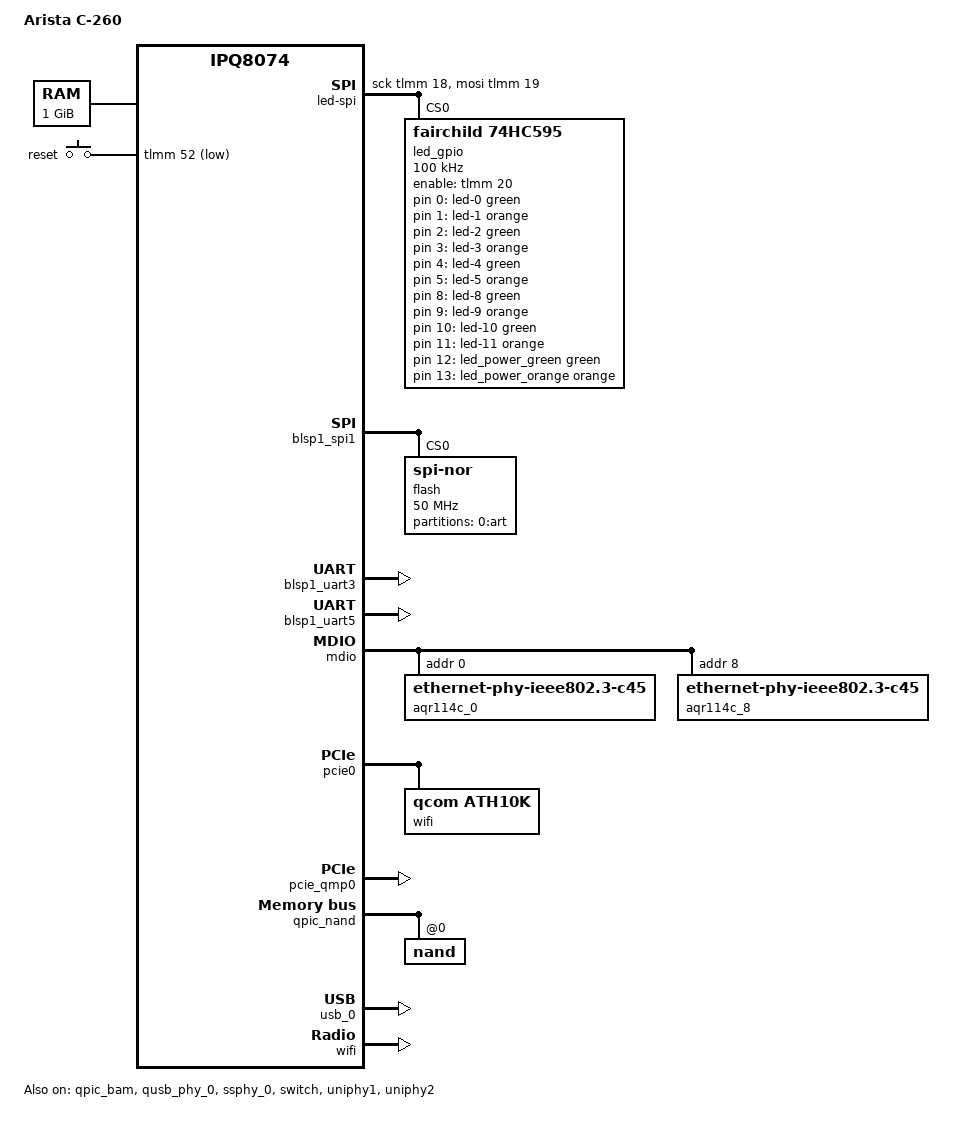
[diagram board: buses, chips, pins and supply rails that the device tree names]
// SPDX-License-Identifier: GPL-2.0-or-later OR MIT

/dts-v1/;

#include "ipq8074.dtsi"
#include "ipq8074-hk-cpu.dtsi"
#include "ipq8074-ess.dtsi"
#include "ipq8074-nss.dtsi"
#include <dt-bindings/gpio/gpio.h>
#include <dt-bindings/input/input.h>
#include <dt-bindings/leds/common.h>

/ {
	model = "Arista C-260";
	compatible = "arista,c-260", "qcom,ipq8074";

	aliases {
		serial0 = &blsp1_uart5;
		serial1 = &blsp1_uart3;
		led-boot = &led_power_orange;
		led-failsafe = &led_power_orange;
		led-running = &led_power_green;
		led-upgrade = &led_power_orange;
		label-mac-device = &port_lan1;
	};

	chosen {
		stdout-path = "serial0:115200n8";
		bootargs-append = " ubi.mtd=rootfs root=/dev/ubiblock0_1";
	};

	memory@40000000 {
		device_type = "memory";
		reg = <0x0 0x40000000 0x0 0x40000000>;
	};

	keys {
		compatible = "gpio-keys";
		pinctrl-0 = <&button_pins>;
		pinctrl-names = "default";

		reset {
			label = "reset";
			gpios = <&tlmm 52 GPIO_ACTIVE_LOW>;
			linux,code = <KEY_RESTART>;
		};
	};

	led-spi {
		compatible = "spi-gpio";
		#address-cells = <1>;
		#size-cells = <0>;
		sck-gpios = <&tlmm 18 GPIO_ACTIVE_HIGH>;
		mosi-gpios = <&tlmm 19 GPIO_ACTIVE_HIGH>;

		led_gpio: led-gpio@0 {
			compatible = "fairchild,74hc595";
			reg = <0>;
			enable-gpios = <&tlmm 20 GPIO_ACTIVE_HIGH>;
			spi-max-frequency = <100000>;
			gpio-controller;
			#gpio-cells = <2>;
			registers-number = <2>;
		};
	};

	leds {
		compatible = "gpio-leds";

		led-0 {
			color = <LED_COLOR_ID_GREEN>;
			function = LED_FUNCTION_LAN;
			function-enumerator = <2>;
			gpios = <&led_gpio 0 GPIO_ACTIVE_HIGH>;
		};

		led-1 {
			color = <LED_COLOR_ID_ORANGE>;
			function = LED_FUNCTION_LAN;
			function-enumerator = <2>;
			gpios = <&led_gpio 1 GPIO_ACTIVE_HIGH>;
		};

		led-2 {
			color = <LED_COLOR_ID_GREEN>;
			function = LED_FUNCTION_LAN;
			function-enumerator = <1>;
			gpios = <&led_gpio 2 GPIO_ACTIVE_HIGH>;
		};

		led-3 {
			color = <LED_COLOR_ID_ORANGE>;
			function = LED_FUNCTION_LAN;
			function-enumerator = <1>;
			gpios = <&led_gpio 3 GPIO_ACTIVE_HIGH>;
		};

		/* the QCA988x, "scanning radio" on the panel */
		led-4 {
			color = <LED_COLOR_ID_GREEN>;
			function = LED_FUNCTION_WLAN;
			gpios = <&led_gpio 4 GPIO_ACTIVE_HIGH>;
		};

		led-5 {
			color = <LED_COLOR_ID_ORANGE>;
			function = LED_FUNCTION_WLAN;
			gpios = <&led_gpio 5 GPIO_ACTIVE_HIGH>;
		};

		led-8 {
			color = <LED_COLOR_ID_GREEN>;
			function = LED_FUNCTION_WLAN_5GHZ;
			gpios = <&led_gpio 8 GPIO_ACTIVE_HIGH>;
		};

		led-9 {
			color = <LED_COLOR_ID_ORANGE>;
			function = LED_FUNCTION_WLAN_5GHZ;
			gpios = <&led_gpio 9 GPIO_ACTIVE_HIGH>;
		};

		led-10 {
			color = <LED_COLOR_ID_GREEN>;
			function = LED_FUNCTION_WLAN_2GHZ;
			gpios = <&led_gpio 10 GPIO_ACTIVE_HIGH>;
		};

		led-11 {
			color = <LED_COLOR_ID_ORANGE>;
			function = LED_FUNCTION_WLAN_2GHZ;
			gpios = <&led_gpio 11 GPIO_ACTIVE_HIGH>;
		};

		led_power_green: led-12 {
			color = <LED_COLOR_ID_GREEN>;
			function = LED_FUNCTION_POWER;
			gpios = <&led_gpio 12 GPIO_ACTIVE_HIGH>;
		};

		/* the one the bootloader lights */
		led_power_orange: led-13 {
			color = <LED_COLOR_ID_ORANGE>;
			function = LED_FUNCTION_POWER;
			gpios = <&led_gpio 13 GPIO_ACTIVE_HIGH>;
		};
	};
};

&blsp1_spi1 {
	status = "okay";

	flash@0 {
		compatible = "jedec,spi-nor";
		reg = <0>;
		spi-max-frequency = <50000000>;
		partitions {
			compatible = "qcom,smem-part";
			qcom,smem-flash-id = <0>;

			partition-0-art {
				label = "0:art";
				read-only;

				nvmem-layout {
					compatible = "fixed-layout";
					#address-cells = <1>;
					#size-cells = <1>;

					/* 0x0-0x12 hold the reference design's placeholders */
					macaddr_art_18: macaddr@18 {
						reg = <0x18 0x6>;
					};

					macaddr_art_1e: macaddr@1e {
						reg = <0x1e 0x6>;
					};

					caldata_ipq8074: calibration@1000 {
						reg = <0x1000 0x20000>;
					};

					caldata_qca988x: calibration@33000 {
						reg = <0x33000 0x844>;
					};
				};
			};
		};
	};
};

/*
 * the CSR8811 Bluetooth controller (RTS/CTS; enable on gpio51); it needs
 * its PS keys loaded over BCSP before it runs as an H4 controller
 */
&blsp1_uart3 {
	status = "okay";
};

&blsp1_uart5 {
	status = "okay";
};

&edma {
	status = "okay";
};

&mdio {
	status = "okay";

	/* Ethernet 2 */
	aqr114c_0: ethernet-phy@0 {
		compatible = "ethernet-phy-ieee802.3-c45";
		reg = <0>;
	};

	/* Ethernet 1 */
	aqr114c_8: ethernet-phy@8 {
		compatible = "ethernet-phy-ieee802.3-c45";
		reg = <8>;
	};
};

&pcie0 {
	status = "okay";
	perst-gpios = <&tlmm 58 GPIO_ACTIVE_LOW>;

	pcie@0 {
		/* QCA988x: the third radio, 2.4/5 GHz */
		wifi@0,0 {
			compatible = "qcom,ath10k";
			reg = <0x00010000 0 0 0 0>;
			nvmem-cells = <&caldata_qca988x>;
			nvmem-cell-names = "calibration";
		};
	};
};

&pcie_qmp0 {
	status = "okay";
};

&qpic_bam {
	status = "okay";
};

&qpic_nand {
	status = "okay";

	/* absorbs the partitions the bootloader adds at boot */
	partitions {
		status = "disabled";
	};

	nand@0 {
		reg = <0>;
		nand-ecc-strength = <4>;
		nand-ecc-step-size = <512>;
		nand-bus-width = <8>;
		partitions {
			compatible = "qcom,smem-part";
			qcom,smem-flash-id = <1>;
		};
	};
};

&qusb_phy_0 {
	status = "okay";
};

&ssphy_0 {
	status = "okay";
};

&switch {
	status = "okay";

	ports {
		#address-cells = <1>;
		#size-cells = <0>;

		port@0 {
			reg = <0>;
			ethernet = <&edma>;
			phy-mode = "internal";

			fixed-link {
				speed = <1000>;
				full-duplex;
			};
		};

		port_lan1: port@5 {
			reg = <5>;
			label = "lan1";
			phy-handle = <&aqr114c_8>;
			phy-mode = "usxgmii";
			managed = "in-band-status";
			pcs-handle = <&uniphy1 0>;
			nvmem-cells = <&macaddr_art_18>;
			nvmem-cell-names = "mac-address";
		};

		port@6 {
			reg = <6>;
			label = "lan2";
			phy-handle = <&aqr114c_0>;
			phy-mode = "usxgmii";
			managed = "in-band-status";
			pcs-handle = <&uniphy2 0>;
			nvmem-cells = <&macaddr_art_1e>;
			nvmem-cell-names = "mac-address";
		};
	};
};

&tlmm {
	button_pins: button-state {
		pins = "gpio52";
		function = "gpio";
		drive-strength = <8>;
		bias-pull-up;
	};
};

&uniphy1 {
	status = "okay";
};

&uniphy2 {
	status = "okay";
};

&usb_0 {
	status = "okay";
};

&wifi {
	status = "okay";
	qcom,ath11k-calibration-variant = "Arista-C260";
	nvmem-cells = <&caldata_ipq8074>;
	nvmem-cell-names = "calibration";
};
